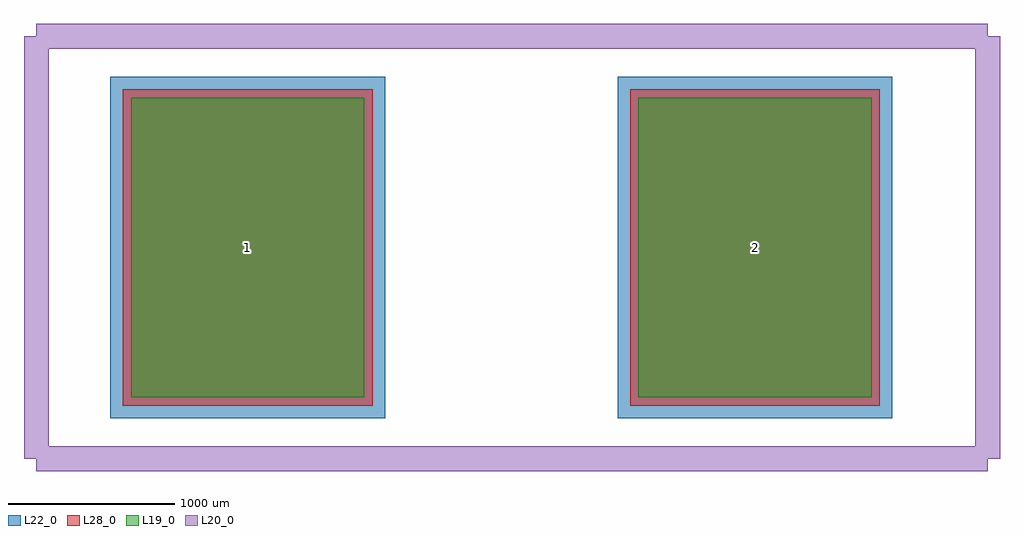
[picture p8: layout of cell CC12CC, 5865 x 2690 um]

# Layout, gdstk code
import gdstk
lib = gdstk.Library(unit=1e-6, precision=1e-09)
def R(c, l, rs):  # rectangles x0, y0, x1, y1
    for r in rs: c.add(gdstk.rectangle(r[:2], r[2:], *l))
L19_0 = (19, 0)
L20_0 = (20, 0)
L22_0 = (22, 0)
L28_0 = (28, 0)

cc12cc = lib.new_cell('CC12CC')
R(cc12cc, L19_0, [(-2224.57,-899.96,-823.43,899.96), (823.43,-899.96,2224.57,899.96)])
R(cc12cc, L22_0, [(-2349.57,-1024.96,-698.43,1024.96), (698.43,-1024.96,2349.57,1024.96)])
R(cc12cc, L28_0, [(-2274.57,-949.96,-773.43,949.96), (773.43,-949.96,2274.57,949.96)])
cc12cc.add(gdstk.FlexPath([(-2794,-1270),(-2794,1270)], 149.998, ends="flush", simple_path=True, layer=20, datatype=0))  # L20_0
cc12cc.add(gdstk.FlexPath([(2921,-1270),(-2794,-1270)], 149.998, ends="flush", simple_path=True, layer=20, datatype=0))  # L20_0
cc12cc.add(gdstk.FlexPath([(2921,1270),(2921,-1270)], 149.998, ends="flush", simple_path=True, layer=20, datatype=0))  # L20_0
cc12cc.add(gdstk.FlexPath([(-2794,1270),(2921,1270)], 149.998, ends="flush", simple_path=True, layer=20, datatype=0))  # L20_0
cc12cc.add(gdstk.Label('2', (1524,0), layer=28, texttype=0))
cc12cc.add(gdstk.Label('1', (-1524,0), layer=28, texttype=0))
cc12cc.add(gdstk.Label('type', (0,-2286), layer=9, texttype=0))
cc12cc.add(gdstk.Label('devicename', (127,2286), layer=9, texttype=0))

lib.write_gds('CC12CC.gds')
